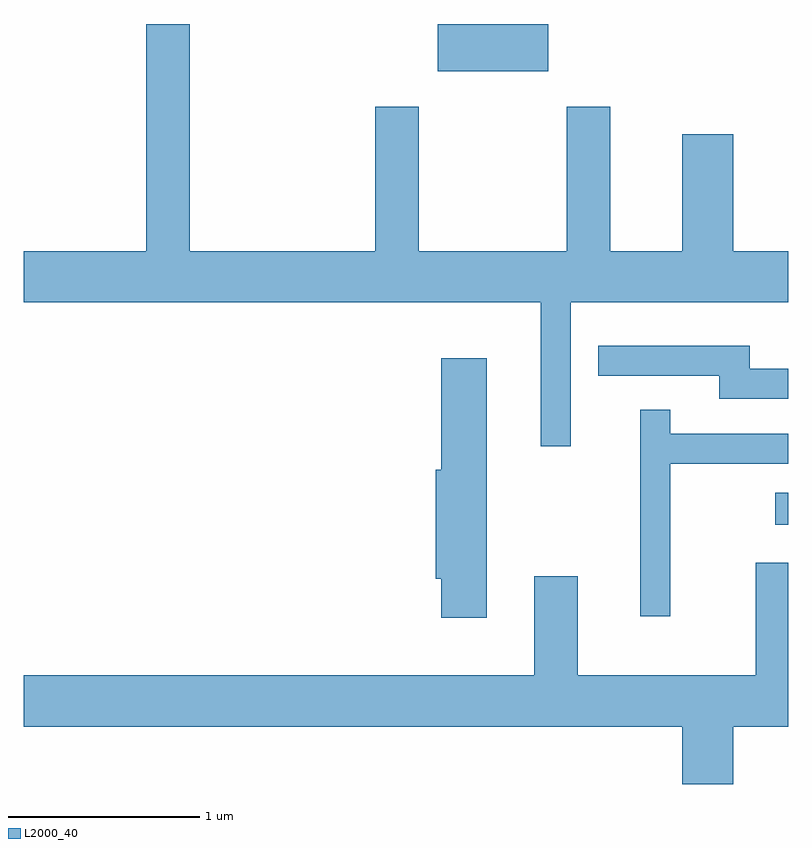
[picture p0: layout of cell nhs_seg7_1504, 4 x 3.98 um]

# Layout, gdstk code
import gdstk
lib = gdstk.Library(unit=1e-6, precision=1e-09)
def R(c, l, rs):  # rectangles x0, y0, x1, y1
    for r in rs: c.add(gdstk.rectangle(r[:2], r[2:], *l))
def P(c, l, *ps):  # polygons
    for p in ps: c.add(gdstk.Polygon(p, *l))
L2000_40 = (2000, 40)

nhs_seg7_1504 = lib.new_cell('nhs_seg7_1504')
R(nhs_seg7_1504, L2000_40, [(235.543,1677.631,235.611,1677.799), (233.776,1680.006,234.354,1680.252)])
P(nhs_seg7_1504, L2000_40, [(234.474,1678.796),(235.611,1678.796),(235.611,1679.064),(235.324,1679.064),(235.324,1679.674),(235.056,1679.674),(235.056,1679.064),(234.679,1679.064),(234.679,1679.819),(234.451,1679.819),(234.451,1679.064),(233.679,1679.064),(233.679,1679.819),(233.451,1679.819),(233.451,1679.064),(232.479,1679.064),(232.479,1680.252),(232.251,1680.252),(232.251,1679.064),(231.611,1679.064),(231.611,1678.796),(234.316,1678.796),(234.316,1678.043),(234.474,1678.043)],
  [(235.611,1678.449),(235.409,1678.449),(235.409,1678.569),(234.618,1678.569),(234.618,1678.411),(235.251,1678.411),(235.251,1678.291),(235.611,1678.291)],
  [(234.034,1678.504),(233.796,1678.504),(233.796,1677.919),(233.766,1677.919),(233.766,1677.351),(233.796,1677.351),(233.796,1677.146),(234.034,1677.146)],
  [(234.994,1677.951),(235.611,1677.951),(235.611,1678.109),(234.994,1678.109),(234.994,1678.233),(234.836,1678.233),(234.836,1677.153),(234.994,1677.153)],
  [(235.324,1676.576),(235.611,1676.576),(235.611,1677.434),(235.441,1677.434),(235.441,1676.844),(234.509,1676.844),(234.509,1677.364),(234.281,1677.364),(234.281,1676.844),(231.611,1676.844),(231.611,1676.576),(235.056,1676.576),(235.056,1676.276),(235.324,1676.276)])

lib.write_gds('nhs_seg7_1504.gds')
